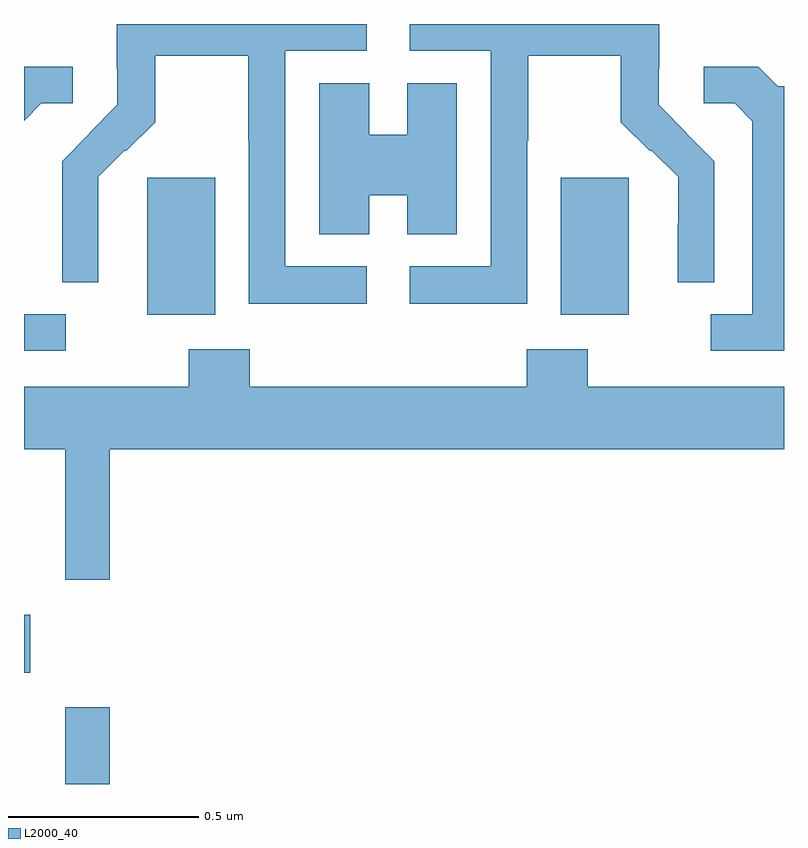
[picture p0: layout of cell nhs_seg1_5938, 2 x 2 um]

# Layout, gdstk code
import gdstk
lib = gdstk.Library(unit=1e-6, precision=1e-09)
def R(c, l, rs):  # rectangles x0, y0, x1, y1
    for r in rs: c.add(gdstk.rectangle(r[:2], r[2:], *l))
def P(c, l, *ps):  # polygons
    for p in ps: c.add(gdstk.Polygon(p, *l))
L2000_40 = (2000, 40)

nhs_seg1_5938 = lib.new_cell('nhs_seg1_5938')
R(nhs_seg1_5938, L2000_40, [(185.108,536.199,185.225,536.401), (185,536.492,185.017,536.644), (185,537.339,185.11,537.435), (185.324,537.434,185.503,537.795), (186.413,537.434,186.592,537.795)])
P(nhs_seg1_5938, L2000_40, [(186.324,537.892),(186.327,537.892),(186.327,538.116),(186.571,538.116),(186.571,537.941),(186.648,537.864),(186.651,537.867),(186.722,537.797),(186.722,537.674),(186.72,537.674),(186.72,537.52),(186.816,537.52),(186.816,537.838),(186.743,537.911),(186.744,537.912),(186.67,537.986),(186.67,538.083),(186.672,538.083),(186.672,538.199),(186.015,538.199),(186.015,538.128),(186.228,538.128),(186.228,537.561),(186.015,537.561),(186.015,537.463),(186.324,537.463)],
  [(185.902,537.561),(185.688,537.561),(185.688,538.128),(185.902,538.128),(185.902,538.199),(185.244,538.199),(185.244,538.083),(185.246,538.083),(185.246,537.986),(185.172,537.912),(185.173,537.911),(185.1,537.838),(185.1,537.52),(185.196,537.52),(185.196,537.674),(185.195,537.674),(185.195,537.797),(185.265,537.867),(185.268,537.864),(185.345,537.941),(185.345,538.116),(185.59,538.116),(185.59,537.892),(185.592,537.892),(185.592,537.463),(185.902,537.463)],
  [(185.046,537.99),(185.128,537.99),(185.128,538.087),(185,538.087),(185,537.944)],
  [(187,538.035),(186.984,538.035),(186.932,538.087),(186.789,538.087),(186.789,537.99),(186.87,537.99),(186.917,537.943),(186.917,537.435),(186.807,537.435),(186.807,537.339),(187,537.339)],
  [(185.908,537.749),(186.008,537.749),(186.008,537.646),(186.139,537.646),(186.139,538.043),(186.008,538.043),(186.008,537.907),(185.908,537.907),(185.908,538.043),(185.777,538.043),(185.777,537.646),(185.908,537.646)],
  [(185.225,537.08),(187,537.08),(187,537.244),(186.483,537.244),(186.483,537.343),(186.323,537.343),(186.323,537.244),(185.594,537.244),(185.594,537.343),(185.434,537.343),(185.434,537.244),(185,537.244),(185,537.08),(185.108,537.08),(185.108,536.736),(185.225,536.736)])

lib.write_gds('nhs_seg1_5938.gds')
